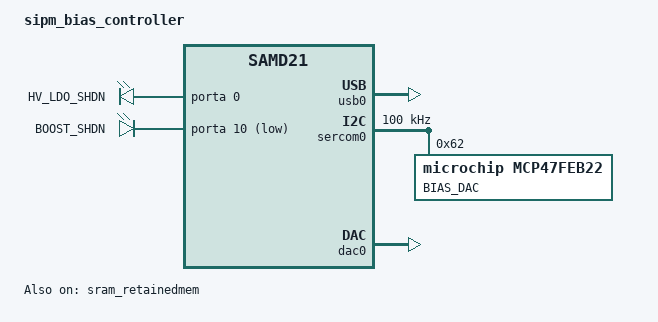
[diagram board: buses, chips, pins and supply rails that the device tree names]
/*
 * SPDX-License-Identifier: Apache-2.0
 * SiPM Bias Controller board (ATSAMD21E18A-AF).
 *
 * Pinout (verified against bias_generator_LT8362.kicad_sch):
 *   PA00 = LDO_SHDN (HV LDO shutdown, active-high disables)
 *   PA02 = Boost_Gain (DAC0 -> LT836X feedback)
 *   PA08 = SDA (SERCOM0 PAD0, to MCP47FEB22)
 *   PA09 = SCL (SERCOM0 PAD1, to MCP47FEB22)
 *   PA10 = ~SHDN (LT836X boost shutdown, active-low disables)
 *   PA24/PA25 = USB DM/DP
 */

/dts-v1/;
#include <atmel/samd21.dtsi>
#include <atmel/samx2xx18.dtsi>
#include "sipm_bias_controller-pinctrl.dtsi"

/ {
	model = "sipm_bias_controller";
	compatible = "applikate,sipm_bias_controller",
		     "atmel,samd21e18a", "atmel,samd21";

	chosen {
		zephyr,console = &cdc_acm_uart0;
		zephyr,shell-uart = &cdc_acm_uart0;
		zephyr,sram = &sram0;
		zephyr,flash = &flash0;
		zephyr,code-partition = &slot0_partition;
		zephyr,boot-mode = &boot_mode0;
	};

	/* Retained memory for boot mode flag (warm-reset persistent). */
	sram_retainedmem: sram@20007ff0 {
		compatible = "zephyr,memory-region", "mmio-sram";
		reg = <0x20007FF0 0x10>;
		zephyr,memory-region = "RetainedMem";
		status = "okay";

		retainedmem {
			compatible = "zephyr,retained-ram";
			status = "okay";
			#address-cells = <1>;
			#size-cells = <1>;

			boot_mode0: boot_mode@0 {
				compatible = "zephyr,retention";
				status = "okay";
				reg = <0x0 0x4>;
				prefix = [08 04];
				checksum = <1>;
			};
		};
	};

	/* High-voltage LDO shutdown line. Net: LDO_SHDN.
	 * Active-high *signal* disables the LDO; flag as ACTIVE_HIGH so
	 * gpio_pin_set_dt(.., 1) means "shut down".
	 */
	hv_ldo: hv_ldo {
		compatible = "gpio-leds";
		hv_ldo_shdn: hv_ldo_shdn {
			gpios = <&porta 0 GPIO_ACTIVE_HIGH>;
			label = "HV_LDO_SHDN";
		};
	};

	/* LT836X boost converter shutdown line. Net: ~SHDN.
	 * Active-low signal: drive HIGH to run, LOW to shut down.
	 * Flagged as ACTIVE_LOW so gpio_pin_set_dt(.., 1) means "enable boost".
	 */
	boost_en: boost_en {
		compatible = "gpio-leds";
		boost_shdn: boost_shdn {
			gpios = <&porta 10 GPIO_ACTIVE_LOW>;
			label = "BOOST_SHDN";
		};
	};
};

zephyr_udc0: &usb0 {
	status = "okay";
	pinctrl-0 = <&usb_dc_default>;
	pinctrl-names = "default";
};

&zephyr_udc0 {
	cdc_acm_uart0: cdc_acm_uart0 {
		compatible = "zephyr,cdc-acm-uart";
	};
};

&cpu0 {
	clock-frequency = <48000000>;
};

/* I2C0 on SERCOM0 (PA08 SDA, PA09 SCL) -> MCP47FEB22 DAC */
&sercom0 {
	status = "okay";
	compatible = "atmel,sam0-i2c";
	clock-frequency = <I2C_BITRATE_STANDARD>;
	#address-cells = <1>;
	#size-cells = <0>;
	pinctrl-0 = <&sercom0_i2c_default>;
	pinctrl-names = "default";

	/* MCP47FEB22 7-bit address. The Arduino code uses i2c_address=2
	 * which on the MCP47FEB22 selects the A2 variant -> 0x62.
	 * Verify against the actual part marking; common addresses are
	 * 0x60 (A0), 0x61 (A1), 0x62 (A2), 0x63 (A3).
	 */
	mcp47feb22: mcp47feb22@62 {
		compatible = "microchip,mcp47feb22";
		reg = <0x62>;
		status = "okay";
		label = "BIAS_DAC";
	};
};

/* On-chip DAC: drives Boost_Gain on PA02 (LT836X feedback). */
&dac0 {
	status = "okay";
};

/* Shrink main SRAM to exclude retained memory region */
&sram0 {
	reg = <0x20000000 0x7FF0>;
};

&flash0 {
	erase-block-size = <256>;

	partitions {
		compatible = "fixed-partitions";
		#address-cells = <1>;
		#size-cells = <1>;

		/* MCUboot bootloader: 48 KiB at 0x00000 */
		boot_partition: partition@0 {
			label = "mcuboot";
			reg = <0x00000000 DT_SIZE_K(48)>;
			read-only;
		};

		/* Application image (slot 0): 100 KiB at 0x0C000 */
		slot0_partition: partition@c000 {
			label = "image-0";
			reg = <0x0000C000 DT_SIZE_K(100)>;
		};

		/* DFU staging image (slot 1): 100 KiB at 0x25000 */
		slot1_partition: partition@25000 {
			label = "image-1";
			reg = <0x00025000 DT_SIZE_K(100)>;
		};

		/* NVS for calibration (offset, g42, g50): 8 KiB at 0x3E000 */
		storage_partition: partition@3e000 {
			label = "storage";
			reg = <0x0003E000 DT_SIZE_K(8)>;
		};
	};
};
